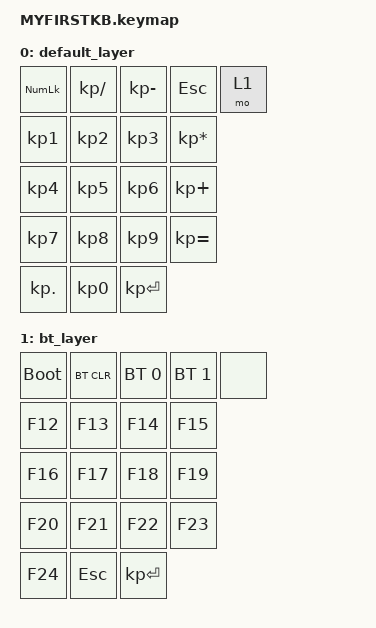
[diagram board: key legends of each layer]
#include <behaviors.dtsi>
#include <dt-bindings/zmk/keys.h>
#include <dt-bindings/zmk/bt.h>

/ {
    keymap {
        compatible = "zmk,keymap";

        default_layer {
            bindings = <
                &kp KP_NUMLOCK   &kp KP_DIVIDE   &kp KP_MINUS    &kp ESCAPE       &mo 1
                &kp KP_NUMBER_1  &kp KP_NUMBER_2 &kp KP_NUMBER_3 &kp KP_MULTIPLY          
                &kp KP_NUMBER_4  &kp KP_NUMBER_5 &kp KP_NUMBER_6 &kp KP_PLUS
                &kp KP_NUMBER_7  &kp KP_NUMBER_8 &kp KP_NUMBER_9 &kp KP_EQUAL
                &kp KP_DOT       &kp KP_NUMBER_0 &kp KP_ENTER
            >;
        };

        bt_layer {
            bindings = <
                &bootloader      &bt BT_CLR       &bt BT_SEL 0     &bt BT_SEL 1      &none
                &kp F12          &kp F13          &kp F14          &kp F15
                &kp F16          &kp F17          &kp F18          &kp F19
                &kp F20          &kp F21          &kp F22          &kp F23
                &kp F24          &kp ESCAPE       &kp KP_ENTER
            >;
        };
    };
};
